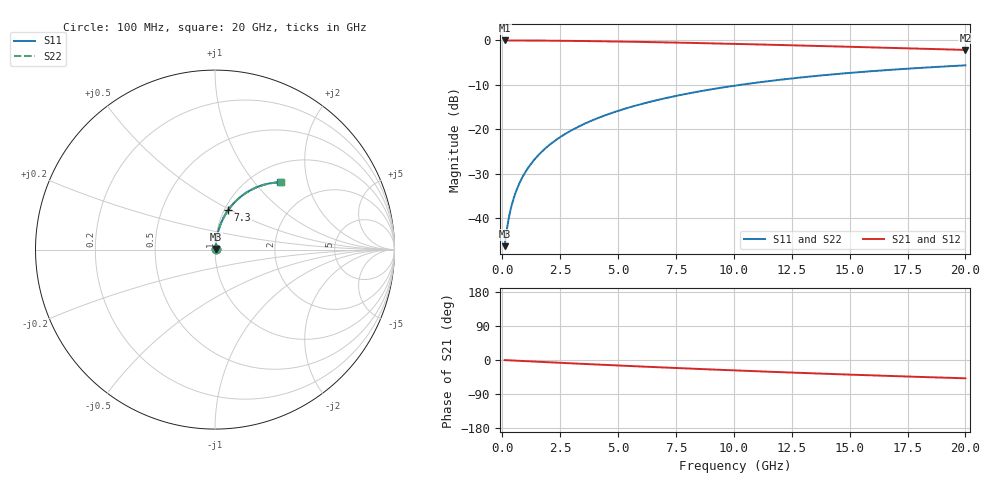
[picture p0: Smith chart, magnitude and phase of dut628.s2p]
! Touchstone file exported from HFSS 2024.1.0
!  File:  C:/UserFiles/LocalFiles/RDL_TSV_Batchsim/temp_RDL_top_628_1779780467.aedt
!  Generated:  03:29:54 PM May 26, 2026
!  Design:  RDL_top
!  Project:  temp_RDL_top_628_1779780467
!  Setup:  Setup1
!  Solution:  Sweep
! Variables:
!  dtsv = 10.80580581um
!  hbump = 3um
!  htsv = 55.77um
!  ldown = 100um
!  lrdl = 632.36um
!  p = 40
!  p1 = 58.76um
!  rhole = 1um
!  t = 450um
!  tdown = 3.915915916um
!  trdl = 4.97um
!  wdown = 15.38538539um
!  wrdl = 13.1um
# GHz S MA R 50.000000
! Terminal data exported
! Port[1] = Box2_T1
! Port[2] = Box2_T2
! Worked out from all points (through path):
!   200 points, 100 MHz to 20 GHz, reference 50 ohm
!   highest |S21| = -0.03 dB at 100 MHz (marker M1); lowest = -2.2 dB at 20 GHz (marker M2)
!   group delay of S21, straight-line fit = 6.69 ps
!   lowest |S11| = -46.3 dB at 100 MHz (marker M3), VSWR 1.01, Z = 50.4 + j0.34 ohm
!   |S11| at or under -10 dB: start of sweep to 10.29 GHz
!   |S22| runs from -46.3 to -5.6 dB; largest |S21 - S12| = 1.2e-14
!   S11 on the Smith chart (normalised r, x): 100 MHz: 1.01, +0.01; 7.3 GHz: 1.04, +0.48; 20 GHz: 1.34, +1.38
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0.1  0.004864 44.0  0.9965 -0.3  0.9965 -0.3  0.004864 44.0
! Gamma 0 0 0 0
! Port Impedance 50 0 50 0
0.2  0.007631 61.8  0.9964 -0.6  0.9964 -0.6  0.007631 61.8
0.3  0.01071 69.5  0.9963 -0.9  0.9963 -0.9  0.01071 69.5
0.4  0.01387 73.6  0.9961 -1.2  0.9961 -1.2  0.01387 73.6
0.5  0.01706 76.1  0.9959 -1.5  0.9959 -1.5  0.01706 76.1
0.6  0.02026 77.7  0.9958 -1.8  0.9958 -1.8  0.02026 77.7
0.8  0.02671 79.7  0.9954 -2.4  0.9954 -2.4  0.02671 79.7
1.1  0.03642 81.2  0.9947 -3.3  0.9947 -3.3  0.03642 81.2
1.5  0.04939 81.8  0.9934 -4.5  0.9934 -4.5  0.04939 81.8
1.8  0.05912 81.8  0.9922 -5.4  0.9922 -5.4  0.05912 81.8
2.1  0.06884 81.6  0.9909 -6.2  0.9909 -6.2  0.06884 81.6
2.7  0.08821 80.8  0.9876 -8.0  0.9876 -8.0  0.08821 80.8
3.5  0.1139 79.5  0.9823 -10.3  0.9823 -10.3  0.1138 79.5
4.2  0.1361 78.2  0.9768 -12.3  0.9768 -12.3  0.1361 78.2
5  0.1612 76.6  0.9697 -14.5  0.9697 -14.5  0.1612 76.5
6.8  0.2164 72.7  0.9512 -19.3  0.9512 -19.3  0.2164 72.7
7.3  0.2314 71.6  0.9456 -20.6  0.9456 -20.6  0.2313 71.6
8.6  0.2693 68.8  0.9302 -23.9  0.9302 -23.9  0.2692 68.7
10.1  0.3111 65.5  0.9114 -27.6  0.9114 -27.6  0.311 65.4
13.4  0.3944 58.4  0.8677 -35.2  0.8677 -35.2  0.3943 58.3
16.7  0.465 51.8  0.8233 -42.0  0.8233 -42.0  0.4648 51.7
20  0.5231 45.8  0.7804 -48.3  0.7804 -48.3  0.5229 45.7
